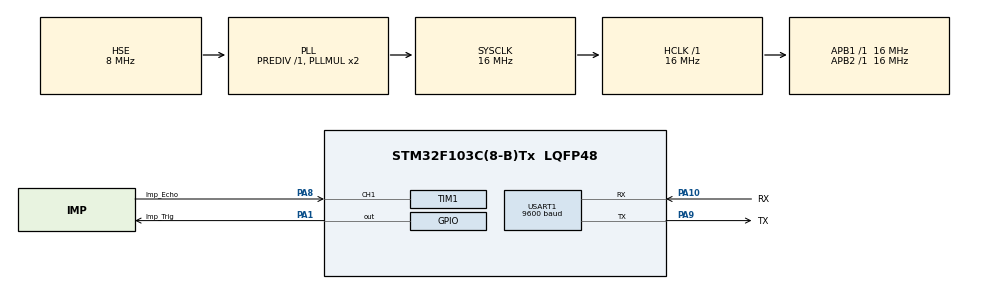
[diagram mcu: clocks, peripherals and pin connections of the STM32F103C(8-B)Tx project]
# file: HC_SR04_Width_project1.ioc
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Mcu.Family=STM32F1
Mcu.Name=STM32F103C(8-B)Tx
Mcu.Package=LQFP48
NVIC.PriorityGroup=NVIC_PRIORITYGROUP_4
NVIC.TIM1_CC_IRQn=true\:0\:0\:false\:false\:true\:true\:true
NVIC.USART1_IRQn=true\:0\:0\:false\:false\:true\:true\:true
PA1.GPIO_Label=Imp_Trig
PA1.Signal=GPIO_Output
PA10.GPIO_Label=RX
PA10.Mode=Asynchronous
PA10.Signal=USART1_RX
PA8.GPIO_Label=Imp_Echo
PA8.Signal=S_TIM1_CH1
PA9.GPIO_Label=TX
PA9.Mode=Asynchronous
PA9.Signal=USART1_TX
PD0-OSC_IN.Mode=HSE-External-Oscillator
PD0-OSC_IN.Signal=RCC_OSC_IN
PD1-OSC_OUT.Mode=HSE-External-Oscillator
PD1-OSC_OUT.Signal=RCC_OSC_OUT
ProjectManager.HeapSize=0x200
ProjectManager.StackSize=0x400
ProjectManager.TargetToolchain=STM32CubeIDE
RCC.AHBFreq_Value=16000000
RCC.APB1Freq_Value=16000000
RCC.APB1TimFreq_Value=16000000
RCC.APB2Freq_Value=16000000
RCC.APB2TimFreq_Value=16000000
RCC.HCLKFreq_Value=16000000
RCC.PLLSourceVirtual=RCC_PLLSOURCE_HSE
RCC.SYSCLKFreq_VALUE=16000000
RCC.SYSCLKSource=RCC_SYSCLKSOURCE_PLLCLK
RCC.USBFreq_Value=16000000
SH.S_TIM1_CH1.0=TIM1_CH1,Input_Capture1_from_TI1
TIM1.Channel-Input_Capture1_from_TI1=TIM_CHANNEL_1
TIM1.Period=65353-1
TIM1.Prescaler=16-1
USART1.BaudRate=9600
USART1.VirtualMode=VM_ASYNC
VP_SYS_VS_ND.Mode=No_Debug
board=custom

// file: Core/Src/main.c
/* USER CODE BEGIN Header */
/**
  ******************************************************************************
  * @file           : main.c
  * @brief          : Main program body
  ******************************************************************************
  * @attention
  *
  * <h2><center>&copy; Copyright (c) 2021 STMicroelectronics.
  * All rights reserved.</center></h2>
  *
  * This software component is licensed by ST under BSD 3-Clause license,
  * the "License"; You may not use this file except in compliance with the
  * License. You may obtain a copy of the License at:
  *                        opensource.org/licenses/BSD-3-Clause
  *
  ******************************************************************************
  */
/* USER CODE END Header */

#include "main.h"

/* USER CODE BEGIN Includes */
#include <stdio.h>
#include <string.h>
/* USER CODE END Includes */

TIM_HandleTypeDef htim1;

UART_HandleTypeDef huart1;

void SystemClock_Config(void);
static void MX_GPIO_Init(void);
static void MX_TIM1_Init(void);
static void MX_USART1_UART_Init(void);

/* USER CODE BEGIN 0 */
void delay (uint16_t time)
{
	__HAL_TIM_SET_COUNTER(&htim1, 0);//скидываем значение счетчика таймера
	while (__HAL_TIM_GET_COUNTER (&htim1) < time);//считаем до time
}

uint32_t IC_Val1 = 0;
uint32_t IC_Val2 = 0;
uint32_t Difference = 0;
uint8_t Is_First_Captured = 0;
float Distance  = 0;
uint32_t ch1 = 0;
uint32_t ch2 = 0;
char falling_str[64] = {0};
char distance_str[64] = {0};
uint32_t buff[100];
uint32_t sum = 0;
uint32_t i=0;
uint32_t j=0;

void HAL_TIM_IC_CaptureCallback(TIM_HandleTypeDef *htim)
{
	if (htim->Channel == HAL_TIM_ACTIVE_CHANNEL_1)  // если источник прерывания канал 1
	{
		if (Is_First_Captured==0) // если первое значение не зафиксировано
		{
			IC_Val1 = HAL_TIM_ReadCapturedValue(htim, TIM_CHANNEL_1); // читаем первое значение
			Is_First_Captured = 1;  // первое значение зафиксировано

			__HAL_TIM_SET_CAPTUREPOLARITY(htim, TIM_CHANNEL_1, TIM_INPUTCHANNELPOLARITY_FALLING);// смена на ожидание спада
		}

		else if (Is_First_Captured==1)   // если первое значение уже зафиксировано
		{
			IC_Val2 = HAL_TIM_ReadCapturedValue(htim, TIM_CHANNEL_1);  // читаем второе значение
			__HAL_TIM_SET_COUNTER(htim, 0);  // сбрасываем счетчик

			if (IC_Val2 > IC_Val1)
			{
				Difference = IC_Val2-IC_Val1;
			}

			else if (IC_Val1 > IC_Val2)
			{
				Difference = (0xffff - IC_Val1) + IC_Val2;
			}
		if (j < 100)
		{
			buff[j] = Difference;//
			j++;
		}
		else
		{
			for (j = 0; j  <100; j++)
			{
				sum = sum + buff[j];
				buff[j]=0;
			}
			Difference = sum/100;
			j=0;

		}

			Distance = Difference/58.2;
			ch1 = Distance;
			ch2 = (Distance-ch1)*1000; //перевод float в строку char
			Is_First_Captured = 0;
			snprintf(falling_str, 64, "Pulse %lu mks\n", Difference);
			snprintf(distance_str, 64, "Distance %lu.%lu cm\n\n", ch1, ch2);

			__HAL_TIM_SET_CAPTUREPOLARITY(htim, TIM_CHANNEL_1, TIM_INPUTCHANNELPOLARITY_RISING);// смена на ожидание фронта
			__HAL_TIM_DISABLE_IT(&htim1, TIM_IT_CC1);//выключение прерывания на первом таймере
		}
	}
}

void HCSR04_Read (void)
{
	HAL_GPIO_WritePin(Imp_Trig_GPIO_Port, Imp_Trig_Pin, GPIO_PIN_SET);
	delay(10);// задержка в 10 мкс
	HAL_GPIO_WritePin(Imp_Trig_GPIO_Port, Imp_Trig_Pin, GPIO_PIN_RESET);

	__HAL_TIM_ENABLE_IT(&htim1, TIM_IT_CC1);//включение прерывания на первом таймере
}
/* USER CODE END 0 */

int main(void)
{

  /* MCU Configuration--------------------------------------------------------*/

  /* Reset of all peripherals, Initializes the Flash interface and the Systick. */

	HAL_Init();

  /* Configure the system clock */
  SystemClock_Config();

  /* Initialize all configured peripherals */
  MX_GPIO_Init();
  MX_TIM1_Init();
  MX_USART1_UART_Init();
  /* USER CODE BEGIN 2 */
  HAL_TIM_IC_Start_IT(&htim1, TIM_CHANNEL_1);
  /* USER CODE END 2 */

  /* Infinite loop */
  while (1)
  {

    /* USER CODE BEGIN 3 */

	for (i=0; i<1000000; i++)
		  {
		  	if(i == 999999)
		  	{
		  		HCSR04_Read();
		  		HAL_UART_Transmit(&huart1, (uint8_t*)falling_str, strlen(falling_str), 100);
		  		HAL_UART_Transmit(&huart1, (uint8_t*)distance_str, strlen(distance_str), 100);
		  		falling_str[0] = 0;
		  		distance_str[0] = 0;
		  		i=0;
			}
		  }
	i=0;
  }

  /* USER CODE END 3 */
}

void SystemClock_Config(void)
{
  RCC_OscInitTypeDef RCC_OscInitStruct = {0};
  RCC_ClkInitTypeDef RCC_ClkInitStruct = {0};

  /** Initializes the CPU, AHB and APB busses clocks
  */
  RCC_OscInitStruct.OscillatorType = RCC_OSCILLATORTYPE_HSE;
  RCC_OscInitStruct.HSEState = RCC_HSE_ON;
  RCC_OscInitStruct.HSEPredivValue = RCC_HSE_PREDIV_DIV1;
  RCC_OscInitStruct.HSIState = RCC_HSI_ON;
  RCC_OscInitStruct.PLL.PLLState = RCC_PLL_ON;
  RCC_OscInitStruct.PLL.PLLSource = RCC_PLLSOURCE_HSE;
  RCC_OscInitStruct.PLL.PLLMUL = RCC_PLL_MUL2;
  if (HAL_RCC_OscConfig(&RCC_OscInitStruct) != HAL_OK)
  {
    Error_Handler();
  }
  /** Initializes the CPU, AHB and APB busses clocks
  */
  RCC_ClkInitStruct.ClockType = RCC_CLOCKTYPE_HCLK|RCC_CLOCKTYPE_SYSCLK
                              |RCC_CLOCKTYPE_PCLK1|RCC_CLOCKTYPE_PCLK2;
  RCC_ClkInitStruct.SYSCLKSource = RCC_SYSCLKSOURCE_PLLCLK;
  RCC_ClkInitStruct.AHBCLKDivider = RCC_SYSCLK_DIV1;
  RCC_ClkInitStruct.APB1CLKDivider = RCC_HCLK_DIV1;
  RCC_ClkInitStruct.APB2CLKDivider = RCC_HCLK_DIV1;

  if (HAL_RCC_ClockConfig(&RCC_ClkInitStruct, FLASH_LATENCY_0) != HAL_OK)
  {
    Error_Handler();
  }
}

static void MX_TIM1_Init(void)
{

  TIM_MasterConfigTypeDef sMasterConfig = {0};
  TIM_IC_InitTypeDef sConfigIC = {0};

  htim1.Instance = TIM1;
  htim1.Init.Prescaler = 16-1;
  htim1.Init.CounterMode = TIM_COUNTERMODE_UP;
  htim1.Init.Period = 65353-1;
  htim1.Init.ClockDivision = TIM_CLOCKDIVISION_DIV1;
  htim1.Init.RepetitionCounter = 0;
  htim1.Init.AutoReloadPreload = TIM_AUTORELOAD_PRELOAD_DISABLE;
  if (HAL_TIM_IC_Init(&htim1) != HAL_OK)
  {
    Error_Handler();
  }
  sMasterConfig.MasterOutputTrigger = TIM_TRGO_RESET;
  sMasterConfig.MasterSlaveMode = TIM_MASTERSLAVEMODE_DISABLE;
  if (HAL_TIMEx_MasterConfigSynchronization(&htim1, &sMasterConfig) != HAL_OK)
  {
    Error_Handler();
  }
  sConfigIC.ICPolarity = TIM_INPUTCHANNELPOLARITY_RISING;
  sConfigIC.ICSelection = TIM_ICSELECTION_DIRECTTI;
  sConfigIC.ICPrescaler = TIM_ICPSC_DIV1;
  sConfigIC.ICFilter = 0;
  if (HAL_TIM_IC_ConfigChannel(&htim1, &sConfigIC, TIM_CHANNEL_1) != HAL_OK)
  {
    Error_Handler();
  }

}

static void MX_USART1_UART_Init(void)
{

  huart1.Instance = USART1;
  huart1.Init.BaudRate = 9600;
  huart1.Init.WordLength = UART_WORDLENGTH_8B;
  huart1.Init.StopBits = UART_STOPBITS_1;
  huart1.Init.Parity = UART_PARITY_NONE;
  huart1.Init.Mode = UART_MODE_TX_RX;
  huart1.Init.HwFlowCtl = UART_HWCONTROL_NONE;
  huart1.Init.OverSampling = UART_OVERSAMPLING_16;
  if (HAL_UART_Init(&huart1) != HAL_OK)
  {
    Error_Handler();
  }

}

static void MX_GPIO_Init(void)
{
  GPIO_InitTypeDef GPIO_InitStruct = {0};

  /* GPIO Ports Clock Enable */
  __HAL_RCC_GPIOD_CLK_ENABLE();
  __HAL_RCC_GPIOA_CLK_ENABLE();

  /*Configure GPIO pin Output Level */
  HAL_GPIO_WritePin(Imp_Trig_GPIO_Port, Imp_Trig_Pin, GPIO_PIN_RESET);

  /*Configure GPIO pin : Imp_Trig_Pin */
  GPIO_InitStruct.Pin = Imp_Trig_Pin;
  GPIO_InitStruct.Mode = GPIO_MODE_OUTPUT_PP;
  GPIO_InitStruct.Pull = GPIO_NOPULL;
  GPIO_InitStruct.Speed = GPIO_SPEED_FREQ_LOW;
  HAL_GPIO_Init(Imp_Trig_GPIO_Port, &GPIO_InitStruct);

}

void Error_Handler(void)
{
}

/************************ (C) COPYRIGHT STMicroelectronics *****END OF FILE****/
